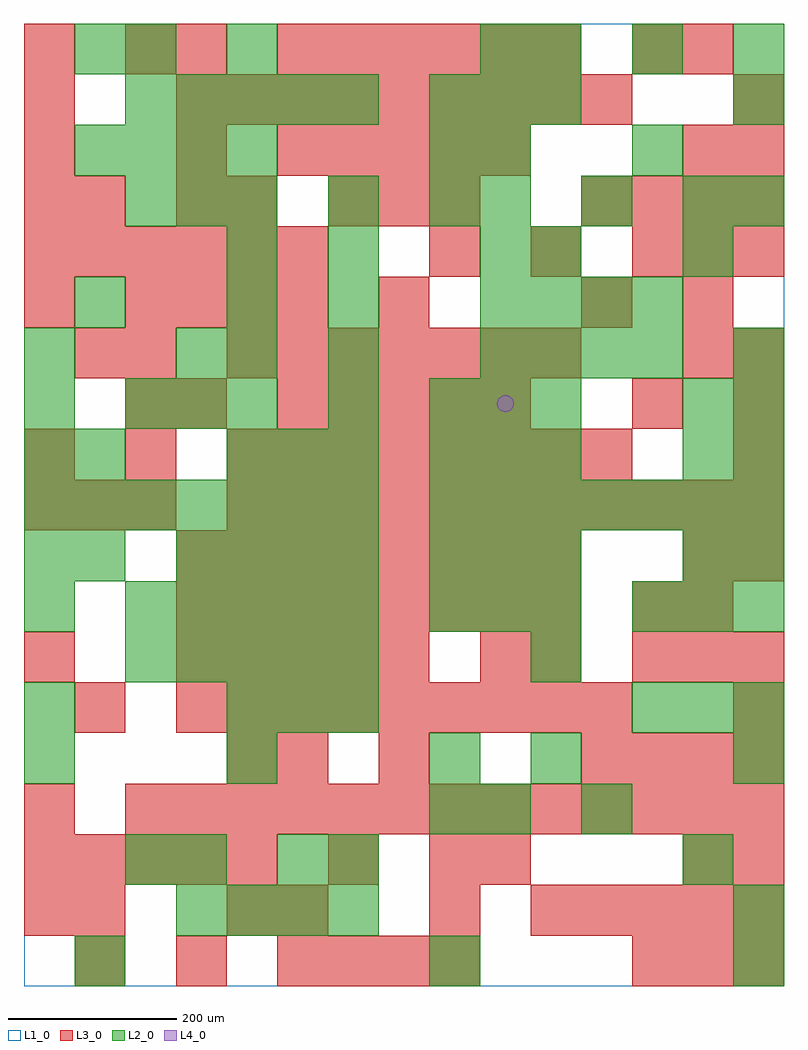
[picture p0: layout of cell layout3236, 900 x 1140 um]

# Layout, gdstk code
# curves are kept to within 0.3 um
import gdstk
lib = gdstk.Library(unit=1e-6, precision=1e-09)
def R(c, l, rs):  # rectangles x0, y0, x1, y1
    for r in rs: c.add(gdstk.rectangle(r[:2], r[2:], *l))
def A(c, l, x, y, w, h, nx, ny, dx, dy):  # array of equal rectangles
    R(c, l, [(x+i*dx, y+j*dy, x+i*dx+w, y+j*dy+h) for i in range(nx) for j in range(ny)])
def P(c, l, *ps):  # polygons
    for p in ps: c.add(gdstk.Polygon(p, *l))
L1_0 = (1, 0)
L2_0 = (2, 0)
L3_0 = (3, 0)
L4_0 = (4, 0)

layout3236 = lib.new_cell('layout3236')
R(layout3236, L1_0, [(0,0,900,1140)])
A(layout3236, L2_0, 180, 60, 60, 60, 4, 2, 60, 420)
A(layout3236, L2_0, 0, 240, 60, 60, 3, 1, 240, 0)
A(layout3236, L2_0, 240, 300, 60, 60, 3, 2, 60, 300)
A(layout3236, L2_0, 720, 300, 60, 60, 3, 2, 60, 120)
A(layout3236, L2_0, 120, 360, 60, 60, 5, 2, 60, 60)
A(layout3236, L2_0, 480, 420, 60, 60, 3, 2, 60, 60)
A(layout3236, L2_0, 0, 540, 60, 60, 7, 1, 60, 0)
A(layout3236, L2_0, 480, 540, 60, 60, 7, 1, 60, 0)
A(layout3236, L2_0, 0, 600, 60, 60, 1, 3, 0, 60)
A(layout3236, L2_0, 480, 600, 60, 60, 3, 2, 60, 60)
A(layout3236, L2_0, 840, 600, 60, 60, 1, 3, 0, 60)
A(layout3236, L2_0, 120, 660, 60, 60, 3, 2, 60, 240)
A(layout3236, L2_0, 360, 660, 60, 60, 1, 5, 0, 60)
A(layout3236, L2_0, 240, 720, 60, 60, 1, 3, 0, 60)
A(layout3236, L2_0, 540, 720, 60, 60, 4, 2, 60, 60)
A(layout3236, L2_0, 540, 840, 60, 60, 1, 3, 0, 120)
A(layout3236, L2_0, 540, 900, 60, 60, 3, 1, 120, 0)
A(layout3236, L2_0, 60, 960, 60, 60, 4, 1, 60, 0)
A(layout3236, L2_0, 120, 1020, 60, 60, 5, 1, 60, 0)
A(layout3236, L2_0, 480, 1020, 60, 60, 3, 1, 60, 0)
A(layout3236, L2_0, 600, 1080, 60, 60, 3, 1, 120, 0)
R(layout3236, L2_0, [(60,0,120,60), (480,0,540,60), (840,0,900,60), (840,60,900,120), (120,120,180,180), (180,120,240,180), (300,120,360,180), (360,120,420,180), (780,120,840,180), (480,180,540,240), (540,180,600,240), (660,180,720,240), (600,240,660,300), (840,240,900,300), (0,300,60,360), (600,360,660,420), (0,420,60,480), (0,480,60,540), (60,480,120,540), (780,480,840,540), (840,480,900,540), (60,600,120,660), (780,600,840,660), (780,660,840,720), (180,720,240,780), (60,780,120,840), (600,840,660,900), (780,840,840,900), (480,900,540,960), (840,900,900,960), (480,960,540,1020), (720,960,780,1020), (840,1020,900,1080), (60,1080,120,1140), (120,1080,180,1140), (240,1080,300,1140)])
A(layout3236, L3_0, 60, 0, 60, 60, 3, 1, 120, 0)
A(layout3236, L3_0, 360, 0, 60, 60, 3, 2, 60, 900)
A(layout3236, L3_0, 720, 0, 60, 60, 3, 2, 60, 360)
A(layout3236, L3_0, 600, 60, 60, 60, 5, 1, 60, 0)
A(layout3236, L3_0, 0, 120, 60, 60, 5, 1, 60, 0)
A(layout3236, L3_0, 840, 120, 60, 60, 1, 3, 0, 180)
A(layout3236, L3_0, 120, 180, 60, 60, 13, 1, 60, 0)
A(layout3236, L3_0, 660, 240, 60, 60, 4, 2, 60, 660)
A(layout3236, L3_0, 180, 300, 60, 60, 9, 2, 60, 720)
A(layout3236, L3_0, 180, 360, 60, 60, 5, 1, 60, 0)
A(layout3236, L3_0, 180, 420, 60, 60, 8, 2, 60, 60)
A(layout3236, L3_0, 0, 540, 60, 60, 3, 1, 60, 0)
A(layout3236, L3_0, 240, 540, 60, 60, 11, 1, 60, 0)
A(layout3236, L3_0, 0, 600, 60, 60, 3, 1, 120, 0)
A(layout3236, L3_0, 300, 600, 60, 60, 7, 1, 60, 0)
A(layout3236, L3_0, 840, 600, 60, 60, 1, 3, 0, 60)
A(layout3236, L3_0, 300, 660, 60, 60, 5, 2, 60, 300)
A(layout3236, L3_0, 240, 720, 60, 60, 7, 1, 60, 0)
A(layout3236, L3_0, 780, 720, 60, 60, 1, 3, 0, 60)
A(layout3236, L3_0, 120, 780, 60, 60, 4, 1, 60, 0)
A(layout3236, L3_0, 0, 840, 60, 60, 6, 1, 60, 0)
A(layout3236, L3_0, 480, 840, 60, 60, 3, 1, 120, 0)
A(layout3236, L3_0, 0, 900, 60, 60, 1, 4, 0, 60)
A(layout3236, L3_0, 300, 1080, 60, 60, 6, 1, 60, 0)
R(layout3236, L3_0, [(0,60,60,120), (60,60,120,120), (240,60,300,120), (300,60,360,120), (480,60,540,120), (360,120,420,180), (480,120,540,180), (540,120,600,180), (780,120,840,180), (0,180,60,240), (240,240,300,300), (300,240,360,300), (420,240,480,300), (60,300,120,360), (0,360,60,420), (540,360,600,420), (600,360,660,420), (720,420,780,480), (780,420,840,480), (780,480,840,540), (120,660,180,720), (180,660,240,720), (720,660,780,720), (60,720,120,780), (120,720,180,780), (0,780,60,840), (420,780,480,840), (660,780,720,840), (840,840,900,900), (60,900,120,960), (180,900,240,960), (240,900,300,960), (180,960,240,1020), (780,960,840,1020), (840,960,900,1020), (840,1020,900,1080), (120,1080,180,1140), (180,1080,240,1140), (720,1080,780,1140), (780,1080,840,1140)])
P(layout3236, L4_0, [(580,690),(579.239,693.827),(577.071,697.071),(573.827,699.239),(570,700),(566.173,699.239),(562.929,697.071),(560.761,693.827),(560,690),(560.761,686.173),(562.929,682.929),(566.173,680.761),(570,680),(573.827,680.761),(577.071,682.929),(579.239,686.173)])

lib.write_gds('layout3236.gds')
